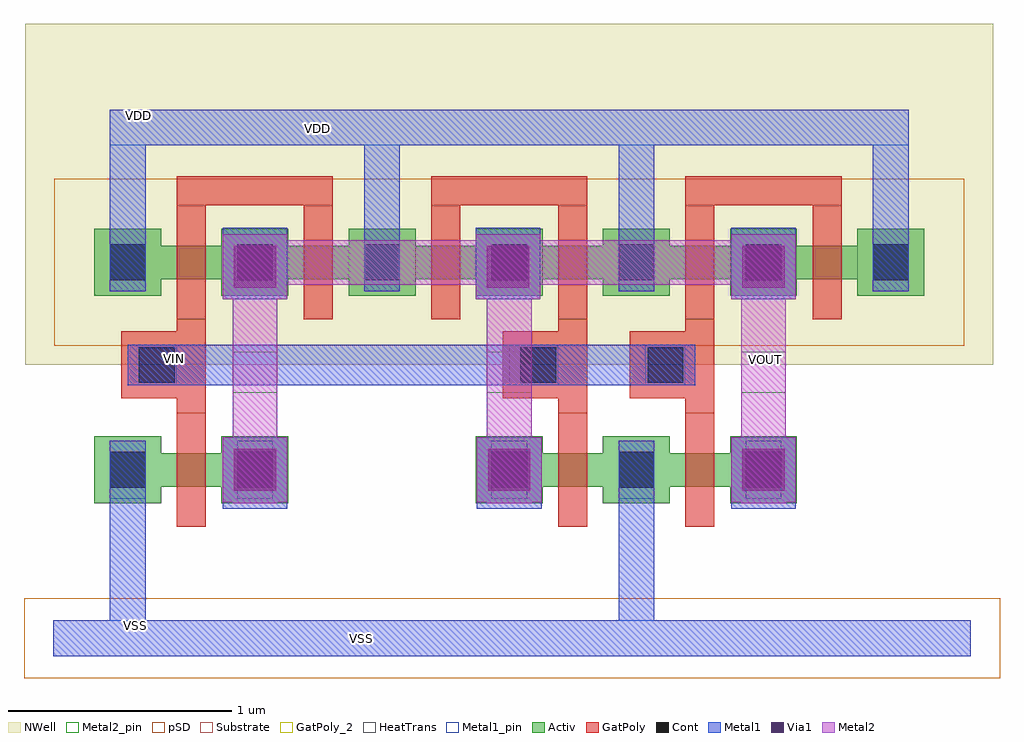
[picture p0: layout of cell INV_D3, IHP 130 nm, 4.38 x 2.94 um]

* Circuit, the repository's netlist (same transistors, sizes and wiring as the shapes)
** sch_path: $SCRIPT_DIR/ADC8711-main/schematic/xschem/INV_D3.sch
.subckt INV_D3 VDD VOUT VIN VSS
*.PININFO VDD:B VSS:B VOUT:O VIN:I
MM1 VOUT VIN VSS VSS sg13_lv_nmos w=0.15u l=0.13u ng=1 m=3
MM2 VOUT VIN VDD VDD sg13_lv_pmos w=0.15u l=0.13u ng=1 m=6
.ends

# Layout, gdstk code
from math import pi, radians
import gdstk
lib = gdstk.Library(unit=1e-6, precision=5e-09)
def R(c, l, rs):  # rectangles x0, y0, x1, y1
    for r in rs: c.add(gdstk.rectangle(r[:2], r[2:], *l))
def A(c, l, x, y, w, h, nx, ny, dx, dy):  # array of equal rectangles
    R(c, l, [(x+i*dx, y+j*dy, x+i*dx+w, y+j*dy+h) for i in range(nx) for j in range(ny)])
Activ = (1, 0)
GatPoly = (5, 0)
GatPoly_2 = (5, 2)
Cont = (6, 0)
Metal1 = (8, 0)
Metal1_pin = (8, 2)
Metal2 = (10, 0)
Metal2_pin = (10, 2)
pSD = (14, 0)
Via1 = (19, 0)
NWell = (31, 0)
Substrate = (40, 0)
HeatTrans = (51, 0)

pmos_27 = lib.new_cell('pmos$27')
R(pmos_27, Activ, [(0,0,0.3,0.3), (0.57,0,0.87,0.3), (0,0.075,0.87,0.225)])
R(pmos_27, GatPoly, [(0.37,-0.105,0.5,0.405), (0.37,-0.105,0.5,0.405)])
R(pmos_27, Cont, [(0.07,0.07,0.23,0.23), (0.64,0.07,0.8,0.23)])
R(pmos_27, Metal1, [(0.07,0.02,0.23,0.28), (0.07,0.02,0.23,0.28), (0.64,0.02,0.8,0.28), (0.64,0.02,0.8,0.28)])
R(pmos_27, pSD, [(-0.18,-0.225,1.05,0.525)])
R(pmos_27, NWell, [(-0.31,-0.31,1.18,0.61)])
R(pmos_27, Substrate, [(0.57,0,0.87,0.3)])
R(pmos_27, HeatTrans, [(0.37,-0.105,0.5,0.405)])
pmos_27.add(gdstk.Label('pmos', (0.435,0.15), layer=63, texttype=0))
pmos_27.add(gdstk.Label('pmos', (0.435,0.15), layer=51, texttype=0))

nmos_1_2_3 = lib.new_cell('nmos$1$2$3')
R(nmos_1_2_3, Activ, [(0,0,0.3,0.3), (0.57,0,0.87,0.3), (0,0.075,0.87,0.225)])
R(nmos_1_2_3, GatPoly, [(0.37,-0.105,0.5,0.405)])
R(nmos_1_2_3, GatPoly_2, [(0.37,-0.105,0.5,0.405)])
R(nmos_1_2_3, Cont, [(0.07,0.07,0.23,0.23), (0.64,0.07,0.8,0.23)])
R(nmos_1_2_3, Metal1, [(0.07,0.02,0.23,0.28), (0.64,0.02,0.8,0.28)])
R(nmos_1_2_3, Metal1_pin, [(0.07,0.02,0.23,0.28), (0.64,0.02,0.8,0.28)])
R(nmos_1_2_3, HeatTrans, [(0.37,-0.105,0.5,0.405)])
nmos_1_2_3.add(gdstk.Label('nmos', (0.435,0.15), layer=63, texttype=0))
nmos_1_2_3.add(gdstk.Label('nmos', (0.435,0.15), layer=51, texttype=0))

inv = lib.new_cell('INV')
R(inv, GatPoly, [(-0.045,-0.365,0.085,0.135), (-0.045,0.645,0.655,0.775)])
R(inv, GatPoly_2, [(-0.045,-0.285,0.085,0.135)])
R(inv, Metal1, [(-0.6,-1.375,1.235,-1.215), (-0.345,-1.375,-0.185,-0.49), (-0.345,0.26,-0.185,1.075), (0.205,0.26,0.405,0.52), (0.795,0.26,0.955,1.075), (-0.345,0.915,0.955,1.075)])
R(inv, Metal1_pin, [(-0.6,-1.375,1.235,-1.215), (-0.345,-1.375,-0.185,-1.215), (-0.345,0.915,-0.185,1.075), (-0.345,0.915,0.955,1.075), (0.795,0.915,0.955,1.075)])
R(inv, Metal2, [(0.205,-0.69,0.405,0.49)])
R(inv, Metal2_pin, [(0.205,-0.195,0.405,-0.01)])
R(inv, pSD, [(-0.73,-1.475,1.365,-1.115)])
r = gdstk.Reference(pmos_27, (-0.415,0.24)); r.repetition = gdstk.Repetition(2, 1, v1=(0.57,0), v2=(0,0)); inv.add(r)
inv.add(gdstk.Reference(nmos_1_2_3, (-0.415,-0.69)))

via1_constraint_7 = lib.new_cell('Via1_constraint$7')
R(via1_constraint_7, Metal1, [(-0.005,-0.005,0.285,0.285)])
R(via1_constraint_7, Metal2, [(-0.005,-0.005,0.285,0.285)])
R(via1_constraint_7, Via1, [(0.045,0.045,0.235,0.235)])

inv_d3 = lib.new_cell('INV_D3')
R(inv_d3, GatPoly, [(0.435,1.055,0.685,1.355), (2.145,1.055,2.395,1.355), (2.715,1.055,2.965,1.355)])
R(inv_d3, GatPoly_2, [(0.435,1.055,0.685,1.355), (2.145,1.055,2.395,1.355), (2.715,1.055,2.965,1.355)])
R(inv_d3, Cont, [(0.515,1.125,0.675,1.285), (2.225,1.125,2.385,1.285), (2.795,1.125,2.955,1.285)])
A(inv_d3, Metal1, 0.89, 0.56, 0.29, 0.03, 3, 1, 1.14, 0)
R(inv_d3, Metal1, [(0.13,-0.1,4.245,0.06), (0.465,1.115,0.685,1.295), (0.465,1.115,3.01,1.295), (2.175,1.115,2.395,1.295), (2.785,1.115,2.965,1.295), (0.89,1.79,1.18,1.82), (2.025,1.79,2.315,1.82), (3.17,1.79,3.46,1.82), (0.385,2.19,3.965,2.35)])
R(inv_d3, Metal1_pin, [(0.13,-0.1,4.245,0.06), (0.385,-0.1,0.545,0.06), (0.465,1.115,0.685,1.295), (2.175,1.115,2.395,1.295), (2.785,1.115,2.965,1.295), (0.385,2.19,0.545,2.35), (0.385,2.19,3.965,2.35)])
R(inv_d3, Metal2, [(0.935,1.565,3.415,1.765)])
R(inv_d3, NWell, [(0.005,2.125,4.345,2.735)])
r = gdstk.Reference(inv, (0.73,1.275)); r.repetition = gdstk.Repetition(2, 1, v1=(2.28,0), v2=(0,0)); inv_d3.add(r)
inv_d3.add(gdstk.Reference(inv, (2.48,1.275), rotation=pi, x_reflection=True))
inv_d3.add(gdstk.Reference(via1_constraint_7, (0.895,0.595)))
inv_d3.add(gdstk.Reference(via1_constraint_7, (2.035,0.595)))
inv_d3.add(gdstk.Reference(via1_constraint_7, (3.175,0.595)))
inv_d3.add(gdstk.Reference(via1_constraint_7, (0.895,1.505)))
inv_d3.add(gdstk.Reference(via1_constraint_7, (2.03,1.505)))
inv_d3.add(gdstk.Reference(via1_constraint_7, (3.175,1.505)))
inv_d3.add(gdstk.Label('VSS', (0.5,0.035), layer=8, texttype=2))
inv_d3.add(gdstk.Label('VIN', (0.675,1.235), layer=8, texttype=2))
inv_d3.add(gdstk.Label('VIN', (0.675,1.235), layer=8, texttype=2))
inv_d3.add(gdstk.Label('VIN', (0.675,1.235), layer=8, texttype=2))
inv_d3.add(gdstk.Label('VDD', (0.515,2.325), layer=8, texttype=2))
inv_d3.add(gdstk.Label('VIN', (0.655,1.19), layer=8, texttype=25))
inv_d3.add(gdstk.Label('VDD', (1.315,2.265), layer=8, texttype=25))
inv_d3.add(gdstk.Label('VSS', (1.515,-0.02), layer=8, texttype=25))
inv_d3.add(gdstk.Label('VOUT', (3.325,1.23), layer=10, texttype=25))

lib.write_gds('INV_D3.gds')
